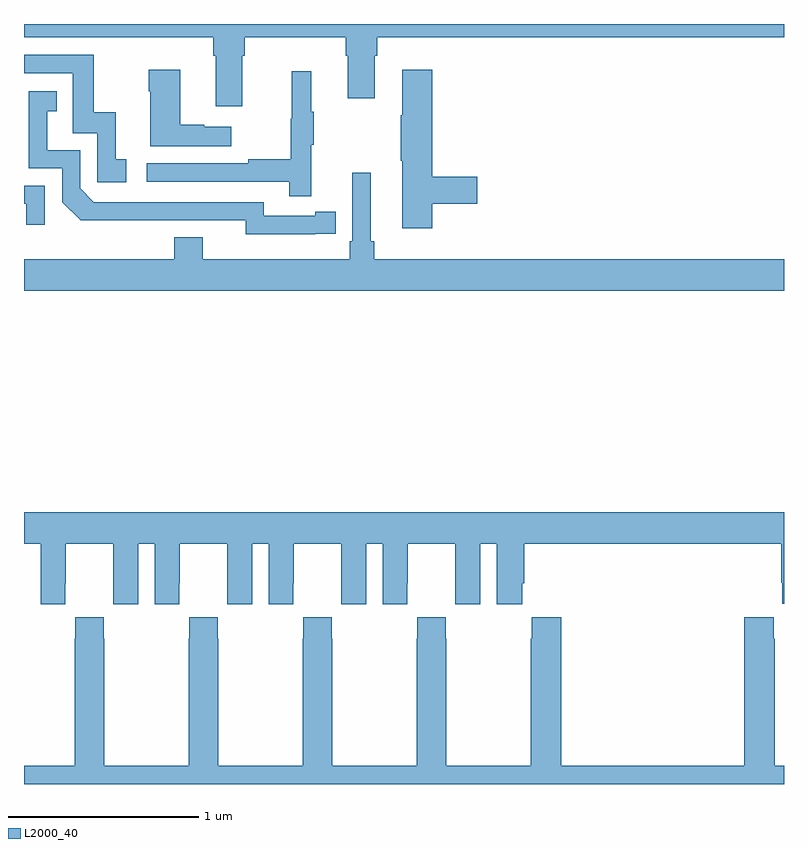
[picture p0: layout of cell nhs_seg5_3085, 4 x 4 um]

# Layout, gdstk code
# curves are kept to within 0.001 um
import gdstk
lib = gdstk.Library(unit=1e-6, precision=1e-09)
def P(c, l, *ps):  # polygons
    for p in ps: c.add(gdstk.Polygon(p, *l))
L2000_40 = (2000, 40)

nhs_seg5_3085 = lib.new_cell('nhs_seg5_3085')
P(nhs_seg5_3085, L2000_40, [(290.149,888.632),(290.162,888.632),(290.162,888.728),(290.693,888.728),(290.693,888.632),(290.705,888.632),(290.705,888.408),(290.845,888.408),(290.845,888.632),(290.858,888.632),(290.858,888.728),(293,888.728),(293,888.799),(289,888.799),(289,888.728),(289.997,888.728),(289.997,888.632),(290.009,888.632),(290.009,888.366),(290.149,888.366)],
  [(289.537,888.087),(289.484,888.087),(289.484,888.334),(289.366,888.334),(289.366,888.636),(289,888.636),(289,888.54),(289.257,888.54),(289.257,888.225),(289.386,888.225),(289.386,887.967),(289.537,887.967)],
  [(290.092,888.259),(289.949,888.259),(289.949,888.269),(289.822,888.269),(289.822,888.559),(289.657,888.559),(289.657,888.446),(289.664,888.446),(289.664,888.155),(290.092,888.155)],
  [(291.149,887.854),(291.385,887.854),(291.385,887.996),(291.149,887.996),(291.149,888.559),(290.99,888.559),(290.99,888.32),(290.983,888.32),(290.983,888.079),(290.99,888.079),(290.99,887.724),(291.149,887.724)],
  [(290.513,888.163),(290.524,888.163),(290.524,888.337),(290.513,888.337),(290.513,888.55),(290.41,888.55),(290.41,888.3),(290.403,888.3),(290.403,888.086),(290.179,888.086),(290.179,888.066),(289.647,888.066),(289.647,887.97),(290.395,887.97),(290.395,887.892),(290.513,887.892)],
  [(290.534,887.694),(290.642,887.694),(290.642,887.81),(290.534,887.81),(290.534,887.79),(290.262,887.79),(290.262,887.862),(289.368,887.862),(289.296,887.934),(289.296,888.135),(289.123,888.135),(289.123,888.339),(289.172,888.339),(289.172,888.445),(289.026,888.445),(289.026,888.039),(289.2,888.039),(289.2,887.862),(289.298,887.765),(290.166,887.766),(290.166,887.693)],
  [(293,887.56),(290.843,887.56),(290.843,887.656),(290.824,887.656),(290.824,888.016),(290.727,888.016),(290.727,887.656),(290.714,887.656),(290.714,887.56),(289.942,887.56),(289.942,887.677),(289.79,887.677),(289.79,887.56),(289,887.56),(289,887.396),(293,887.396)],
  [(289.11,887.949),(289,887.949),(289,887.853),(289.013,887.853),(289.013,887.742),(289.11,887.742)],
  [(289.218,885.856),(289.219,885.856),(289.219,886.064),(289.469,886.064),(289.469,885.856),(289.47,885.856),(289.47,885.744),(289.6,885.744),(289.6,886.064),(289.688,886.064),(289.688,885.744),(289.818,885.744),(289.818,885.856),(289.819,885.856),(289.819,886.064),(290.069,886.064),(290.069,885.856),(290.07,885.856),(290.07,885.744),(290.2,885.744),(290.2,886.064),(290.288,886.064),(290.288,885.744),(290.418,885.744),(290.418,885.856),(290.419,885.856),(290.419,886.064),(290.669,886.064),(290.669,885.856),(290.67,885.856),(290.67,885.744),(290.8,885.744),(290.8,886.064),(290.888,886.064),(290.888,885.744),(291.018,885.744),(291.018,885.856),(291.019,885.856),(291.019,886.064),(291.269,886.064),(291.269,885.856),(291.27,885.856),(291.27,885.744),(291.4,885.744),(291.4,886.064),(291.488,886.064),(291.488,885.744),(291.622,885.744),(291.622,885.856),(291.632,885.856),(291.632,886.064),(292.985,886.064),(292.985,885.859),(292.991,885.859),(292.991,885.747),(293,885.747),(293,886.228),(289,886.228),(289,886.064),(289.088,886.064),(289.088,885.744),(289.218,885.744)],
  [(293,884.896),(292.95,884.896),(292.95,885.563),(292.945,885.563),(292.945,885.676),(292.79,885.676),(292.79,884.896),(291.827,884.896),(291.827,885.676),(291.673,885.676),(291.673,885.563),(291.667,885.563),(291.667,884.896),(291.222,884.896),(291.222,885.563),(291.219,885.563),(291.219,885.676),(291.069,885.676),(291.069,885.563),(291.067,885.563),(291.067,884.896),(290.622,884.896),(290.622,885.563),(290.619,885.563),(290.619,885.676),(290.469,885.676),(290.469,885.563),(290.467,885.563),(290.467,884.896),(290.022,884.896),(290.022,885.563),(290.019,885.563),(290.019,885.676),(289.869,885.676),(289.869,885.563),(289.867,885.563),(289.867,884.896),(289.422,884.896),(289.422,885.563),(289.419,885.563),(289.419,885.676),(289.269,885.676),(289.269,885.563),(289.267,885.563),(289.267,884.896),(289,884.896),(289,884.799),(293,884.799)])

lib.write_gds('nhs_seg5_3085.gds')
